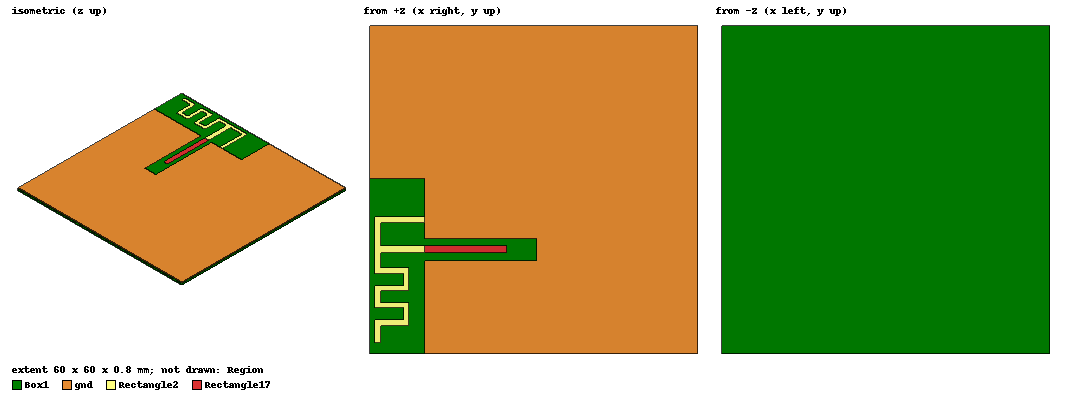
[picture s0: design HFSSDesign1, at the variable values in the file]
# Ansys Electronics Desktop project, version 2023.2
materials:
  vacuum: permittivity=1
  FR4_epoxy: permittivity=4.4 dielectric_loss_tangent=0.02
  air: permittivity=1.0006 permeability=1.0000004

design HFSSDesign1 (HFSS, HFSS Terminal Network, model units mm)
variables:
  W = 1.4529mm
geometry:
  Box1 [FR4_epoxy] = box(corner=(0mm, 0mm, 0mm), size=(60mm, 60mm, -0.8mm))
  Region [air] = region(absolute_offset=15mm on all sides)
  gnd = rectangle(corner=(0mm, 32mm, 0mm), x_size=60mm, y_size=28mm)
  Rectangle2 = rectangle(corner=(13.5mm, 25mm, 0mm), x_size=-12.5mm, y_size=-1mm)
  Rectangle4 = rectangle(corner=(1mm, 24mm, 0mm), x_size=1mm, y_size=-9.33mm)
  Rectangle5 = rectangle(corner=(2mm, 19.84mm, 0mm), x_size=8mm, y_size=-W)
  Rectangle6 = rectangle(corner=(2mm, 14.67mm, 0mm), x_size=4.16mm, y_size=1mm)
  Rectangle7 = rectangle(corner=(6.16mm, 15.67mm, 0mm), x_size=1mm, y_size=-4.16mm)
  Rectangle8 = rectangle(corner=(2mm, 14.67mm, 0mm), x_size=4.16mm, y_size=1mm)
  Rectangle8.move(0mm, -3.16mm, 0mm)
  Rectangle9 = rectangle(corner=(6.16mm, 15.67mm, 0mm), x_size=1mm, y_size=-4.16mm)
  Rectangle9.move(-5.16mm, -3.16mm, 0mm)
  Rectangle6.unite(Rectangle7, Rectangle8, Rectangle9)
  Rectangle10 = rectangle(corner=(2mm, 14.67mm, 0mm), x_size=4.16mm, y_size=1mm)
  Rectangle11 = rectangle(corner=(6.16mm, 15.67mm, 0mm), x_size=1mm, y_size=-4.16mm)
  Rectangle12 = rectangle(corner=(2mm, 14.67mm, 0mm), x_size=4.16mm, y_size=1mm)
  Rectangle12.move(0mm, -3.16mm, 0mm)
  Rectangle13 = rectangle(corner=(6.16mm, 15.67mm, 0mm), x_size=1mm, y_size=-4.16mm)
  Rectangle13.move(-5.16mm, -3.16mm, 0mm)
  Rectangle10.unite(Rectangle11, Rectangle12, Rectangle13)
  Rectangle10.move(0mm, -6.32mm, 0mm)
  Rectangle2.unite(Rectangle4, Rectangle5)
  Rectangle2.unite(Rectangle6, Rectangle10)
  Rectangle14 = rectangle(corner=(13.5mm, 25mm, 0mm), x_size=46.5mm, y_size=-25mm)
  Rectangle15 = rectangle(corner=(13.5mm, 25mm, 0mm), x_size=46.5mm, y_size=7mm)
  gnd.unite(Rectangle15, Rectangle14)
  Rectangle16 = rectangle(corner=(13.5mm, 17mm, 0mm), x_size=17mm, y_size=4mm)
  gnd.subtract(Rectangle16)
  Rectangle17 = rectangle(corner=(14mm, 18.3871mm, 0mm), x_size=15mm, y_size=W)
  Rectangle17.move(-4mm, 0mm, 0mm)
  Rectangle18 = rectangle(corner=(13.5mm, 17mm, 0mm), x_size=-3.5mm, y_size=-17mm)
  gnd.unite(Rectangle18)
  Rectangle19 = rectangle(corner=(13.5mm, 21mm, 0mm), x_size=-3.375mm, y_size=11mm)
  Rectangle2.subtract(Rectangle19)
  Rectangle20 = rectangle(corner=(10.125mm, 24mm, 0mm), x_size=3.375mm, y_size=8mm)
  gnd.unite(Rectangle20)
  Rectangle21 = rectangle(corner=(13.5mm, 21mm, 0mm), x_size=-3.375mm, y_size=3mm)
  gnd.unite(Rectangle21)
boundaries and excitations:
  Rad1: Radiation Objects=Region
  PerfE1: Perfect E Objects=[Rectangle2, gnd]
  1: Lumped Port Objects=Rectangle17 LumpedPortType=Modal Modes{Mode1{IntLine{(25, 19, 0) -> (10, 19.11355, 0)} CharImp=Zpi RenormImp=50ohm}} Impedance=50ohm
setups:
  Setup1: HfssDriven Frequency=0.868GHz MaxDeltaS=0.02 MaximumPasses=6 MinimumPasses=1 MinimumConvergedPasses=1 PercentRefinement=30 BasisOrder=1 PortAccuracy=2 DrivenSolverType="Direct Solver"
    sweep Sweep: 0.434GHz to 1.302GHz, 401 points; Type=Interpolating InterpTolerance=0.5 InterpMaxSolns=250 PassivityErrorTolerance=0.0001
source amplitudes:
  1:1: 1V 0deg
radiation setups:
  Infinite Sphere1: Infinite Sphere Theta=0deg..180deg step 2deg Phi=-180deg..180deg step 2deg
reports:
  Terminal S Parameter Plot 1: dB(St(1,1)) vs Freq on Setup1 : Sweep; markers m1 at 0.94612GHz

design Circuit1 (Circuit)
options: SParamCircuitDef IntegrationMethod=FFT
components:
  S12 = HFSSDesign3()
  U18 = Circuit3()
  port Port1 rz=50ohm iz=0ohm EnableNoise=false noisetemp=16.85cel
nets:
  net_5: S12.0, U18.1
  Port1: U18.0
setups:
  LinearFrequency: LinearFrequencyData(false, 0.1, false, "", false) SweepDefinition{Variable=Freq Data="LINC 0.4GHz 1.6GHz 120"}
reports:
  S Parameter Plot 1: dB(S(Port1,Port1)) vs Freq on LinearFrequency : LinearFrequency; markers m1 at 0.86386555GHz, m2 at 0.86386555GHz, MY1 at y=-10.2261
  S Parameter Chart 1: S(Port1,Port1) on LinearFrequency : LinearFrequency [Freq=all]
  S-Parameters: S(Port1,Port1) on LinearFrequency : LinearFrequency [Freq=all]

design Circuit3 (Circuit)
options: SParamCircuitDef IntegrationMethod=FFT
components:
  L19 = IND_(L=22nH)
  L20 = IND_(L=43nH)
  port Port1 rz=50ohm iz=0ohm EnableNoise=false noisetemp=16.85cel
  port Port2 rz=50ohm iz=0ohm EnableNoise=false noisetemp=16.85cel
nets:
  0: L20.1
  Port1: L19.0
  Port2: L19.1, L20.0
